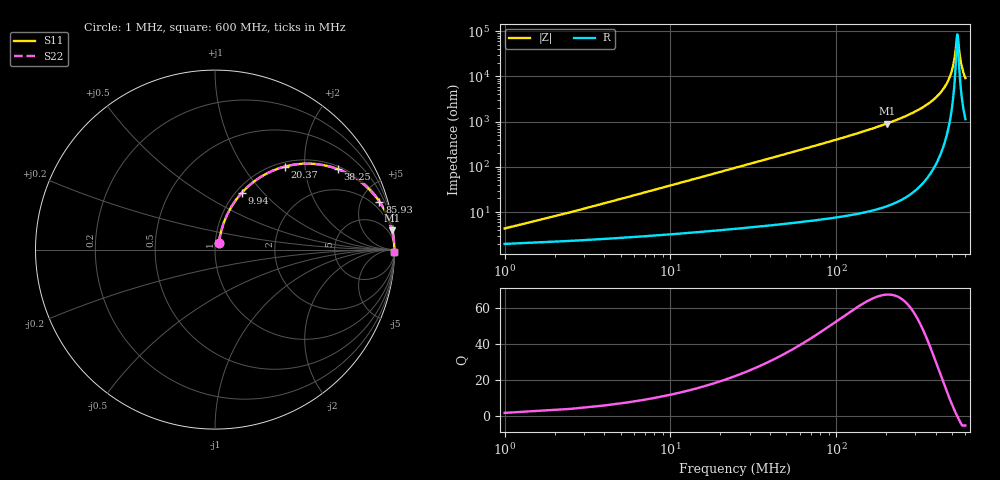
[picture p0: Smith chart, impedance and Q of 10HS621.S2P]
! Coilcraft 1008CS-621 Chip Inductor
! 02 July 2002
# MHZ S MA R 50
!Freq  MagS11  AngS11  MagS21  AngS21  MagS12  AngS12  MagS22  AngS22
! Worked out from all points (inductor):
!   404 points, 1 MHz to 600 MHz, reference 50 ohm
!   read as one part in series: L = 615 nH near 3.98 MHz
!   highest Q = 67.5 at 202.2 MHz (marker M1), where L = 717 nH
!   self-resonance near 535.9 MHz
!   S11 on the Smith chart (normalised r, x): 1 MHz: 1.04, +0.08; 9.94 MHz: 1.06, +0.77; 20.37 MHz: 1.08, +1.58; 38.25 MHz: 1.10, +2.97; 85.93 MHz: 1.14, +6.82; 600 MHz: open
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1  0.04252 60.8  0.9799 -2.2  0.9799 -2.2  0.04252 60.8
5.47  0.2032 71.0  0.9533 -11.6  0.9533 -11.6  0.2032 71.0
9.94  0.3501 64.8  0.908 -20.4  0.908 -20.4  0.3501 64.8
14.41  0.4747 58.0  0.8502 -28.3  0.8502 -28.3  0.4747 58.0
20.37  0.6048 49.9  0.7663 -37.2  0.7663 -37.2  0.6048 49.9
38.25  0.8171 33.3  0.5497 -54.8  0.5497 -54.8  0.8171 33.3
57.62  0.9053 23.7  0.4018 -64.8  0.4018 -64.8  0.9053 23.7
85.93  0.9543 16.3  0.28 -72.6  0.28 -72.6  0.9543 16.3
102.32  0.9674 13.6  0.2357 -75.3  0.2357 -75.3  0.9674 13.6
202.15  0.9924 6.3  0.109 -82.9  0.109 -82.9  0.9924 6.3
301.98  0.9972 3.3  0.05841 -85.6  0.05841 -85.6  0.9972 3.3
401.81  0.9986 1.6  0.02828 -86.4  0.02828 -86.4  0.9986 1.6
462.9  0.9989 0.8  0.01434 -85.1  0.01434 -85.1  0.9989 0.8
501.64  0.9989 0.4  0.00661 -80.1  0.00661 -80.1  0.9989 0.4
516.54  0.9989 0.2  0.003864 -72.9  0.003864 -72.9  0.9989 0.2
532.93  0.9988 0.0  0.001348 -30.7  0.001348 -30.7  0.9988 0.0
537.4  0.9988 -0.0  0.001175 5.7  0.001175 5.7  0.9988 -0.0
540.38  0.9988 -0.0  0.001343 28.8  0.001343 28.8  0.9988 -0.0
552.3  0.9988 -0.2  0.003002 66.2  0.003002 66.2  0.9988 -0.2
562.73  0.9988 -0.3  0.004715 74.6  0.004715 74.6  0.9988 -0.3
579.12  0.9987 -0.4  0.00743 79.7  0.00743 79.7  0.9987 -0.4
600  0.9986 -0.6  0.01083 82.3  0.01083 82.3  0.9986 -0.6
